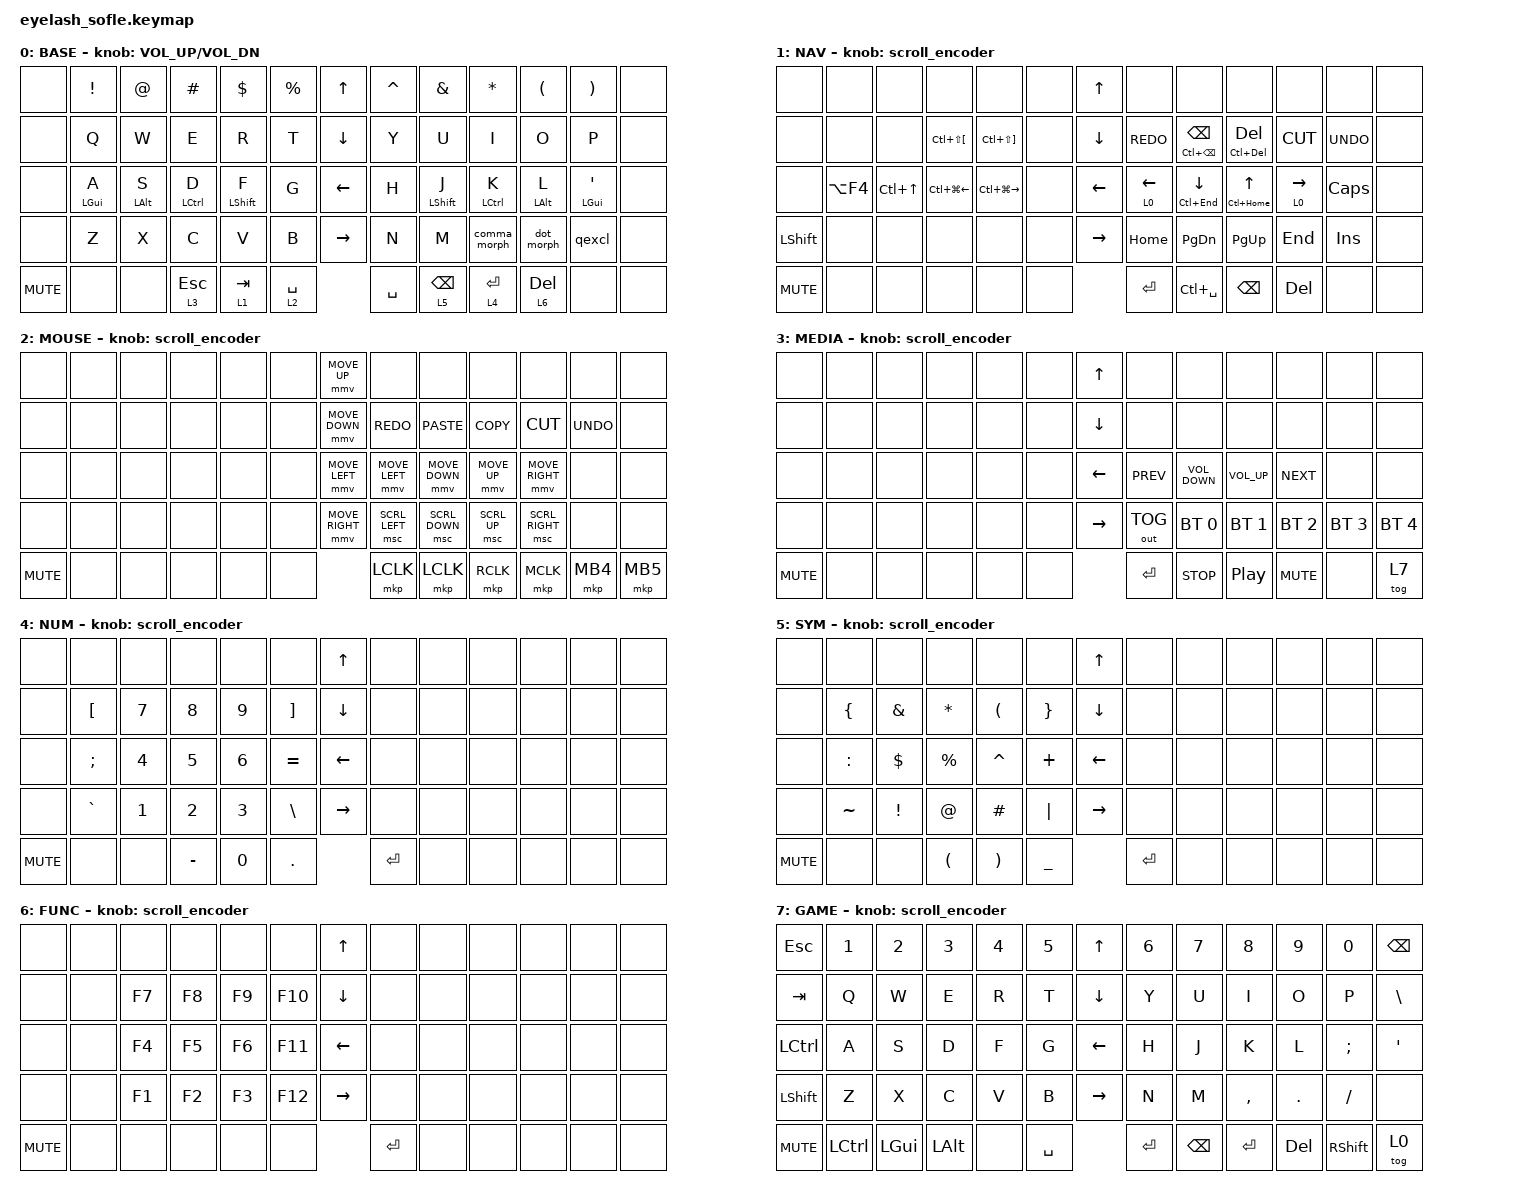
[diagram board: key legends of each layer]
#define ZMK_POINTING_DEFAULT_MOVE_VAL 1200  // 600
#define ZMK_POINTING_DEFAULT_SCRL_VAL 25   // 10

#include <input/processors.dtsi>
#include <zephyr/dt-bindings/input/input-event-codes.h>
#include <behaviors.dtsi>
#include <behaviors/num_word.dtsi>
#include <behaviors/unicode.dtsi> // Requires zmk-unicode module.
#include <zmk-helpers/helper.h> // Requires zmk-helpers module.
#include <dt-bindings/zmk/keys.h>
#include <dt-bindings/zmk/bt.h>
#include <dt-bindings/zmk/keys.h>
#include <dt-bindings/zmk/outputs.h>
#include <dt-bindings/zmk/pointing.h>
#include <dt-bindings/zmk/rgb.h>

&mmv_input_listener { input-processors = <&zip_xy_scaler 2 1>; };

&msc_input_listener { input-processors = <&zip_scroll_scaler 2 1>; };

&msc {
    acceleration-exponent = <1>;      // 0
    time-to-max-speed-ms = <100>;       // 300
    delay-ms = <0>;                   // 0
};

&mmv {
    time-to-max-speed-ms = <500>;
    acceleration-exponent = <1>;
    trigger-period-ms = <16>;
};

&soft_off { hold-time-ms = <2000>; };

// From Urob's Config
#include "zmk-helper-sofle.h"
#include "sofle-helpers.h"
#define KEYS_L LN_ROW LT_ROW LM_ROW LB_ROW 
#define KEYS_R RN_ROW RT_ROW RM_ROW RB_ROW 
#define THUMBS LH_ROW RH_ROW

#define QUICK_TAP_MS 175

#define BASE 0
#define DEF 0
#define NAV 1
#define MOUSE 2
#define MEDIA 3
#define NUM 4
#define SYM 5
#define FUNC 6
#define GAME 7

&sk {
  release-after-ms = <900>;
  quick-release;
};

&sl { // Allow sticky mods to chord across sticky layers.
  ignore-modifiers;
};

&lt {
  flavor = "balanced";
  tapping-term-ms = <200>;
  quick-tap-ms = <QUICK_TAP_MS>;
};

#define MAKE_HRM(NAME, HOLD, TAP, TRIGGER_POS)                                 \
  ZMK_HOLD_TAP(NAME, bindings = <HOLD>, <TAP>; flavor = "balanced";            \
               tapping-term-ms = <280>; quick-tap-ms = <QUICK_TAP_MS>;         \
               require-prior-idle-ms = <150>; hold-trigger-on-release;         \
               hold-trigger-key-positions = <TRIGGER_POS>;)

MAKE_HRM(hml, &kp, &kp, KEYS_R THUMBS) // Left-hand HRMs.
MAKE_HRM(hmr, &kp, &kp, KEYS_L THUMBS) // Right-hand HRMs.

// Hack: Make HRM combos tap-only (cf, ZMK issue #544).
#define ZMK_COMBO_8(NAME, TAP, POS, LAYERS, COMBO_MS, IDLE_MS, HOLD, SIDE)     \
  MAKE_HRM(hm_combo_##NAME, &kp, TAP, SIDE THUMBS)                             \
  ZMK_COMBO_6(NAME, &hm_combo_##NAME HOLD 0, POS, LAYERS, COMBO_MS, IDLE_MS)

#include "combos.dtsi"
#include "leader.dtsi"

// Trigger tap-action on all interrupts.
#define MT_CORE                                                                \
  flavor = "tap-preferred";                                                    \
  tapping-term-ms = <220>;                                                     \
  quick-tap-ms = <220>;                                                        \
  hold-trigger-key-positions = <0>;

&mt { MT_CORE };

ZMK_HOLD_TAP(mt_home, bindings = <&masked_home>, <&kp>; MT_CORE)
ZMK_HOLD_TAP(mt_end, bindings = <&masked_end>, <&kp>; MT_CORE)

#define NAV_LEFT  &mt_home 0   LEFT  // Tap: left  | Long-tap: start of line.
#define NAV_RIGHT &mt_end 0    RIGHT // Tap: right | Long-tap: end   of line.
#define NAV_UP    &mt LC(HOME) UP    // Tap: up    | Long-tap: start of doc.
#define NAV_DOWN  &mt LC(END)  DOWN  // Tap: down  | Long-tap: end   of doc.
#define NAV_BSPC  &mt LC(BSPC) BSPC  // Tap: bspc  | Long-tap: delete word bwd.
#define NAV_DEL   &mt LC(DEL)  DEL   // Tap: del   | Long-tap: delete word fwd.

// Mask CTRL on left/right hold to avoid accidental jumps to start/end of doc.
#define MASK_MODS(NAME, MODS, BINDING)                                         \
  ZMK_MOD_MORPH(NAME, bindings = <BINDING>, <BINDING>; mods = <MODS>;)

MASK_MODS(masked_home, (MOD_LCTL), &kp HOME)
MASK_MODS(masked_end,  (MOD_LCTL), &kp END)

/* Magic-shift & auto-layers */

// Tap: repeat after alpha, else sticky-shift |
// Shift + tap/ double-tap: caps-word | Hold: shift.
#define MAGIC_SHIFT &magic_shift LSHFT 0
ZMK_HOLD_TAP(magic_shift, bindings = <&kp>, <&magic_shift_tap>;
             flavor = "balanced"; tapping-term-ms = <200>;
             quick-tap-ms = <QUICK_TAP_MS>;)
ZMK_MOD_MORPH(magic_shift_tap, bindings = <&shift_repeat>, <&caps_word>;
              mods = <(MOD_LSFT)>;)
ZMK_ADAPTIVE_KEY(
    shift_repeat, bindings = <&sk LSHFT>;
    repeat {
      trigger-keys = <A B C D E F G H I J K L M N O P Q R S T U V W X Y Z>;
      bindings = <&key_repeat>;
      max-prior-idle-ms = <1200>;
      strict-modifiers;
    };)
&caps_word { // Mods deactivate caps-word, requires PR #1451. [TODO: rebase]
  /delete-property/ ignore-modifiers;
};

// Tap: num-word | double-tap: sticky num-layer | Hold: num-layer.
#define SMART_NUM &smart_num NUM 0
ZMK_HOLD_TAP(smart_num, bindings = <&mo>, <&num_dance>; flavor = "balanced";
             tapping-term-ms = <200>; quick-tap-ms = <QUICK_TAP_MS>;)
ZMK_TAP_DANCE(num_dance, bindings = <&num_word NUM>, <&sl NUM>;
              tapping-term-ms = <200>;)

// Smart-mouse, requires tri-state module.
ZMK_TRI_STATE(
    smart_mouse, bindings = <&tog MOUSE>, <&none>, <&tog MOUSE>;
    ignored-key-positions =
        <LT1 LT2 RM0 RM1 RM2 RM3 RB0 RB1 RB2 RB3 RH0 RH1 RH2>;
    ignored-layers = <MOUSE NAV FN>;)

/* Custom behaviors */

// Alt+Tab swapper, requires tri-state module.
ZMK_TRI_STATE(swapper, bindings = <&kt LALT>, <&kp TAB>, <&kt LALT>;
              ignored-key-positions = <LT2 RT2 RM1 RM2 RM3>;)

// Define mod-morph with a *single* mod trigger for less repetition.
#define SIMPLE_MORPH(NAME, MOD, BINDING1, BINDING2)                            \
  ZMK_MOD_MORPH(NAME, mods = <(MOD_L##MOD | MOD_R##MOD)>;                      \
                bindings = <BINDING1>, <BINDING2>;)

// Tap: comma | Shift + tap: semicolon | Ctrl + shift + tap: <.
SIMPLE_MORPH(comma_morph, SFT, &kp COMMA, &comma_inner_morph)
SIMPLE_MORPH(comma_inner_morph, CTL, &kp SEMICOLON, &kp LESS_THAN)

// Tap: dot | Shift + tap: colon | Ctrl + shift + tap: >.
SIMPLE_MORPH(dot_morph, SFT, &kp DOT, &dot_inner_morph)
SIMPLE_MORPH(dot_inner_morph, CTL, &kp COLON, &kp GREATER_THAN)

// Tap: qmark | Shift + tap: excl.
SIMPLE_MORPH(qexcl, SFT, &kp QMARK, &kp EXCL)

// Tap: left/right parenthesis | Shft + tap: less-than/greater-than.
SIMPLE_MORPH(lpar_lt, SFT, &kp LPAR, &kp LT)
SIMPLE_MORPH(rpar_gt, SFT, &kp RPAR, &kp GT)

// Tap: space | Shift + tap: dot -> space -> sticky shift | Hold: nav layer.
ZMK_HOLD_TAP(lt_spc, bindings = <&mo>, <&spc_morph>; flavor = "balanced";
             tapping-term-ms = <200>; quick-tap-ms = <QUICK_TAP_MS>;)
SIMPLE_MORPH(spc_morph, SFT, &kp SPACE, &dot_spc)
ZMK_MACRO(dot_spc, bindings = <&kp DOT &kp SPACE &sk LSHFT>; wait-ms = <0>;
          tap-ms = <5>;)

// Tap: backspace | Lshft + tap: delete | Rshft + tap: shift-delete.
ZMK_MOD_MORPH(bs_del, bindings = <&kp BSPC>, <&kp DEL>;
              mods = <(MOD_LSFT|MOD_RSFT)>; keep-mods = <MOD_RSFT>;)

// Tap: copy | double-tap: cut.
ZMK_TAP_DANCE(copy_cut, bindings = <&kp LC(INS)>, <&kp LC(X)>;
              tapping-term-ms = <200>;)

// Sticky shift + leader.
ZMK_MACRO(leader_sft, bindings = <&sk LSHFT &leader>;)

// Misc aliases. [TODO: clean up]
#define CANCEL    &kp K_CANCEL            // Cancel caps-word & auto-layers.
#define DSK_PREV  &hmr LCTRL LG(LC(LEFT)) // Previous desktop.
#define DSK_NEXT  &hmr LALT LG(LC(RIGHT)) // Next     desktop.
#define PIN_WIN   &kp LG(LC(LS(Q)))       // Pin window across desktops.
#define PIN_APP   &kp LG(LC(LS(A)))       // Pin application across desktops.
#define DSK_MGR   &kp LA(GRAVE)           // Desktop manager.
#define VOL_DOWN  &hmr RSHFT C_VOL_DN

/* Keymap */

//ZMK_CONDITIONAL_LAYER(sys, FN NUM, SYS) // FN + NUM --> SYS.

/ {
    scroll_encoder: scroll_encoder {
        compatible = "zmk,behavior-sensor-rotate";
        #sensor-binding-cells = <0>;
        bindings = <&msc SCRL_DOWN>, <&msc SCRL_UP>;

        tap-ms = <100>;
    };

    // behaviors {
    //     // /* Left-hand HRMs. */
    //     // hml: hml {
    //     //     compatible = "zmk,behavior-hold-tap";
    //     //     #binding-cells = <2>;
    //     //     flavor = "balanced";
    //     //     tapping-term-ms = <280>;
    //     //     quick-tap-ms = <175>;
    //     //     require-prior-idle-ms = <150>;
    //     //     bindings = <&kp>, <&kp>;
    //     //     hold-trigger-key-positions = <KEYS_R THUMBS>;
    //     //     hold-trigger-on-release;
    //     // };
    //     // /* Right-hand HRMs. */
    //     // hmr: hmr {
    //     //     compatible = "zmk,behavior-hold-tap";
    //     //     #binding-cells = <2>;
    //     //     flavor = "balanced";
    //     //     tapping-term-ms = <280>;
    //     //     quick-tap-ms = <175>;
    //     //     require-prior-idle-ms = <150>;
    //     //     bindings = <&kp>, <&kp>;
    //     //     hold-trigger-key-positions = <KEYS_L THUMBS>;
    //     //     hold-trigger-on-release;
    //     // };
    // };

    // combos {
    //     compatible = "zmk,combos";
    //     copy {
    //         bindings = <&kp LC(C)>;
    //         key-positions = <LM2 LB2>;
    //         timeout-ms = <50>;
    //         layers = <BASE>;
    //     };
    //     paste {
    //         bindings = <&kp LS(INS)>;
    //         key-positions = <LM1 LB1>;
    //         timeout-ms = <50>;
    //         layers = <BASE>;
    //     };
    //     exclamation_sym {
    //         bindings = <&kp EXCL>;
    //         key-positions = <LT4 LM4>;
    //         timeout-ms = <50>;
    //         layers = <BASE>;
    //     };
    //     at_sym {
    //         bindings = <&kp AT>;
    //         key-positions = <LT3 LM3>;
    //         timeout-ms = <50>;
    //         layers = <BASE>;
    //     };
    //     hash_sym {
    //         bindings = <&kp POUND>;
    //         key-positions = <LT2 LM2>;
    //         timeout-ms = <50>;
    //         layers = <BASE>;
    //     };
    //     dollar_sym {
    //         bindings = <&kp DLLR>;
    //         key-positions = <LT1 LM1>;
    //         timeout-ms = <50>;
    //         layers = <BASE>;
    //     };
    //     percent_sym {
    //         bindings = <&kp PRCNT>;
    //         key-positions = <LT0 LM0>;
    //         timeout-ms = <50>;
    //         layers = <BASE>;
    //     };
    //     hat_sym {
    //         bindings = <&kp CARET>;
    //         key-positions = <RT0 RM0>;
    //         timeout-ms = <50>;
    //         layers = <BASE>;
    //     };
    //     plus_sym {
    //         bindings = <&kp PLUS>;
    //         key-positions = <RT1 RM1>;
    //         timeout-ms = <50>;
    //         layers = <BASE>;
    //     };
    //     star_sym {
    //         bindings = <&kp ASTRK>;
    //         key-positions = <RT2 RM2>;
    //         timeout-ms = <50>;
    //         layers = <BASE>;
    //     };
    //     ampersand_sym {
    //         bindings = <&kp AMPS>;
    //         key-positions = <RT3 RM3>;
    //         timeout-ms = <50>;
    //         layers = <BASE>;
    //     };
    //     underscore_sym {
    //         bindings = <&kp UNDER>;
    //         key-positions = <RM0 RB0>;
    //         timeout-ms = <50>;
    //         layers = <BASE>;
    //     };
    //     left_paren_sym {
    //         bindings = <&kp LPAR>;
    //         key-positions = <RT1 RT2>;
    //         timeout-ms = <50>;
    //         layers = <BASE>;
    //     };
    //     right_paren_sym {
    //         bindings = <&kp RPAR>;
    //         key-positions = <LT1 LT2>;
    //         timeout-ms = <50>;
    //         layers = <BASE>;
    //     };
    //     left_bracket_sym {
    //         bindings = <&kp LBKT>;
    //         key-positions = <RT2 RT3>;
    //         timeout-ms = <50>;
    //         layers = <BASE>;
    //     };
    //     right_bracket_sym {
    //         bindings = <&kp RBKT>;
    //         key-positions = <LT2 LT3>;
    //         timeout-ms = <50>;
    //         layers = <BASE>;
    //     };
    //     left_brace_sym {
    //         bindings = <&kp LBRC>;
    //         key-positions = <RT1 RT3>;
    //         timeout-ms = <50>;
    //         layers = <BASE>;
    //     };
    //     right_brace_sym {
    //         bindings = <&kp RBRC>;
    //         key-positions = <LT1 LT3>;
    //         timeout-ms = <50>;
    //         layers = <BASE>;
    //     };
    //     backslash_sym {
    //         bindings = <&kp BSLH>;
    //         key-positions = <RM2 RB2>;
    //         timeout-ms = <50>;
    //         layers = <BASE>;
    //     };
    //     pipe_sym {
    //         bindings = <&kp PIPE>;
    //         key-positions = <RM3 RB3>;
    //         timeout-ms = <50>;
    //         layers = <BASE>;
    //     };
    //     colon_sym {
    //         bindings = <&kp COLON>;
    //         key-positions = <RM1 RB1>;
    //         timeout-ms = <50>;
    //         layers = <BASE>;
    //     };
    //     // softoff {
    //     //     bindings = <&soft_off>;
    //     //     key-positions = <LT4 LM3 LB4>; // Row 1 Col 1, Row 2 Col 2, Row 3 Col 1
    //     // };
    // };

    macros {
        SHIFT_MCLK: SHIFT_MCLK {
            compatible = "zmk,behavior-macro";
            #binding-cells = <0>;
            bindings =
                <&macro_press>,
                <&kp LEFT_SHIFT>,
                <&macro_press>,
                <&mkp MB3>,
                <&macro_pause_for_release>,
                <&macro_release>,
                <&kp LEFT_SHIFT &mkp MB3>;

            label = "SHIFT_MCLK";
        };
    };

    keymap {
        compatible = "zmk,keymap";
        base {
            bindings = <
&none         &kp EXCL      &kp AT        &kp POUND     &kp DLLR      &kp PRCNT                   &kp UP_ARROW                   &kp CARET     &kp AMPS      &kp ASTRK     &kp LPAR      &kp RPAR      &none        
&none         &kp Q         &kp W         &kp E         &kp R         &kp T                       &kp DOWN_ARROW                 &kp Y         &kp U         &kp I         &kp O         &kp P         &none   
&none         &hml LGUI A  &hml LALT S   &hml LCTRL D   &hml LSHFT F  &kp G                       &kp LEFT_ARROW                 &kp H         &hmr LSHFT J  &hmr LCTRL K   &hmr LALT L   &hmr LGUI SQT &none   
&none         &kp Z         &kp X         &kp C         &kp V         &kp B                       &kp RIGHT_ARROW                &kp N         &kp M         &comma_morph  &dot_morph    &qexcl      &none    
&kp C_MUTE                  &none         &none         &lt 3 ESC     &lt 1 TAB     &lt 2 SPACE   &kp SPACE        &lt 5 BSPC    &lt 4 ENTER    &lt 6 DEL     &none         &none     
            >;

            sensor-bindings = <&inc_dec_kp C_VOLUME_UP C_VOL_DN>;
            display-name = "BASE";
        };

        navigation {
            bindings = <
&none         &none         &none         &none         &none         &none                       &kp UP_ARROW                   &none         &none         &none         &none         &none         &none        
&none         &none         &none         &kp LC(LS(LBKT))   &kp LC(LS(RBKT))         &none          &kp DOWN_ARROW                 &kp K_REDO    NAV_BSPC      NAV_DEL       &kp K_CUT    &kp K_UNDO    &none   
&none         &kp LA(F4)     &kp LC(UP)    &kp LC(LG(LEFT))  &kp LC(LG(RIGHT)) &none              &kp LEFT_ARROW                 NAV_LEFT      NAV_DOWN      NAV_UP        NAV_RIGHT     &kp CAPS      &none   
&kp LSHIFT    &none         &none         &none         &none         &none                       &kp RIGHT_ARROW                &kp HOME      &kp PG_DN     &kp PG_UP     &kp END       &kp INSERT    &none    
&kp C_MUTE                  &none         &none         &none         &none         &none         &kp ENTER        &kp LC(SPC)   &kp BSPC      &kp DEL       &none         &none     
            >;

            display-name = "NAV";
            sensor-bindings = <&scroll_encoder>;
        };

        mouse {
            bindings = <
&none         &none         &none         &none         &none         &none                       &mmv MOVE_UP                   &none          &none          &none        &none           &none      &none        
&none         &none         &none         &none         &none         &none                       &mmv MOVE_DOWN                 &kp K_REDO     &kp K_PASTE    &kp K_COPY   &kp K_CUT       &kp K_UNDO &none   
&none         &none         &none         &none         &none         &none                       &mmv MOVE_LEFT                 &mmv MOVE_LEFT &mmv MOVE_DOWN &mmv MOVE_UP &mmv MOVE_RIGHT &none      &none   
&none         &none         &none         &none         &none         &none                       &mmv MOVE_RIGHT                &msc SCRL_LEFT &msc SCRL_DOWN &msc SCRL_UP &msc SCRL_RIGHT &none      &none    
&kp C_MUTE                  &none         &none         &none         &none         &none         &mkp LCLK        &mkp LCLK     &mkp RCLK      &mkp MCLK      &mkp MB4     &mkp MB5  
            >;

            display-name = "MOUSE";
            sensor-bindings = <&scroll_encoder>;
        };

        media {
            bindings = <
&none         &none         &none         &none         &none         &none                       &kp UP_ARROW                   &none         &none             &none           &none         &none         &none        
&none         &none         &none         &none         &none         &none                       &kp DOWN_ARROW                 &none         &none             &none           &none         &none         &none   
&none         &none         &none         &none         &none         &none                       &kp LEFT_ARROW                 &kp C_PREV    &kp C_VOLUME_DOWN &kp C_VOLUME_UP &kp C_NEXT    &none         &none   
&none         &none         &none         &none         &none         &none                       &kp RIGHT_ARROW                &out OUT_TOG  &bt BT_SEL 0      &bt BT_SEL 1    &bt BT_SEL 2  &bt BT_SEL 3  &bt BT_SEL 4    
&kp C_MUTE                  &none         &none         &none         &none         &none         &kp ENTER        &kp C_STOP    &kp C_PP      &kp C_MUTE        &none           &tog 7     
            >;

            display-name = "MEDIA";
            sensor-bindings = <&scroll_encoder>;
        };

        number {
            bindings = <
&none       &none       &none      &none         &none         &none       &kp UP_ARROW     &none      &none      &none      &none            &none       &none        
&none       &kp LBKT    &kp N7     &kp N8        &kp N9        &kp RBKT    &kp DOWN_ARROW   &none      &none      &none      &none            &none       &none   
&none       &kp SEMI    &kp N4     &kp N5        &kp N6        &kp EQUAL   &kp LEFT_ARROW   &none      &none      &none      &none            &none       &none   
&none       &kp GRAVE   &kp N1     &kp N2        &kp N3        &kp BSLH    &kp RIGHT_ARROW  &none      &none      &none      &none            &none       &none    
&kp C_MUTE  &none       &none      &kp MINUS     &kp N0        &kp DOT     &kp ENTER        &none      &none      &none      &none            &none     
            >;

            display-name = "NUM";
            sensor-bindings = <&scroll_encoder>;
        };

        symbols {
            bindings = <
&none      &none       &none      &none         &none         &none      &kp UP_ARROW     &none      &none      &none      &none            &none       &none        
&none      &kp LBRC    &kp AMPS   &kp ASTRK     &kp LPAR      &kp RBRC   &kp DOWN_ARROW   &none      &none      &none      &none            &none       &none   
&none      &kp COLON   &kp DLLR   &kp PRCNT     &kp CARET     &kp PLUS   &kp LEFT_ARROW   &none      &none      &none      &none            &none       &none   
&none      &kp TILDE   &kp EXCL   &kp AT        &kp POUND     &kp PIPE   &kp RIGHT_ARROW  &none      &none      &none      &none            &none       &none    
&kp C_MUTE &none       &none      &kp LPAR      &kp RPAR      &kp UNDER  &kp ENTER        &none      &none      &none      &none            &none     
            >;

            display-name = "SYM";
            sensor-bindings = <&scroll_encoder>;
        };

        function {
            bindings = <
&none       &none      &none         &none         &none    &none        &kp UP_ARROW     &none      &none      &none      &none            &none       &none        
&none       &none      &kp F7        &kp F8        &kp F9   &kp F10      &kp DOWN_ARROW   &none      &none      &none      &none            &none       &none   
&none       &none      &kp F4        &kp F5        &kp F6   &kp F11      &kp LEFT_ARROW   &none      &none      &none      &none            &none       &none   
&none       &none      &kp F1        &kp F2        &kp F3   &kp F12      &kp RIGHT_ARROW  &none      &none      &none      &none            &none       &none    
&kp C_MUTE  &none      &none         &none         &none    &none        &kp ENTER        &none      &none      &none      &none            &none     
            >;

            display-name = "FUNC";
            sensor-bindings = <&scroll_encoder>;
        };

        gaming {
            bindings = <
&kp ESC     &kp N1     &kp N2        &kp N3        &kp N4  &kp N5       &kp UP_ARROW     &kp N6     &kp N7     &kp N8     &kp N9           &kp N0      &kp BACKSPACE
&kp TAB     &kp Q      &kp W         &kp E         &kp R   &kp T        &kp DOWN_ARROW   &kp Y      &kp U      &kp I      &kp O            &kp P       &kp BSLH
&kp LCTRL   &kp A      &kp S         &kp D         &kp F   &kp G        &kp LEFT_ARROW   &kp H      &kp J      &kp K      &kp L            &kp SEMI    &kp APOS
&kp LSHFT   &kp Z      &kp X         &kp C         &kp V   &kp B        &kp RIGHT_ARROW  &kp N      &kp M      &kp COMMA  &kp DOT          &kp FSLH    &none
&kp C_MUTE  &kp LCTRL  &kp LEFT_GUI  &kp LEFT_ALT  &none   &kp SPACE    &kp ENTER        &kp BSPC   &kp ENTER  &kp DELETE &kp RIGHT_SHIFT  &tog 0
            >;

            display-name = "GAME";
            sensor-bindings = <&scroll_encoder>;
        };
    };
};


